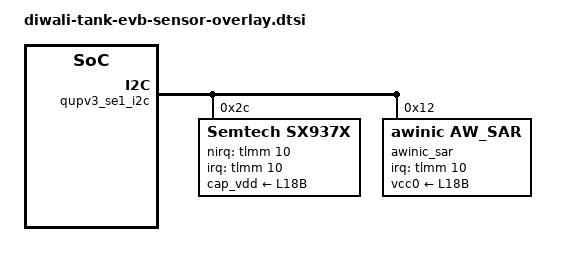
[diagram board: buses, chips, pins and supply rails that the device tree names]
/* Copyright (c) 2021, The Linux Foundation. All rights reserved.
 *
 * This program is free software; you can redistribute it and/or modify
 * it under the terms of the GNU General Public License version 2 and
 * only version 2 as published by the Free Software Foundation.
 *
 * This program is distributed in the hope that it will be useful,
 * but WITHOUT ANY WARRANTY; without even the implied warranty of
 * MERCHANTABILITY or FITNESS FOR A PARTICULAR PURPOSE.  See the
 * GNU General Public License for more details.
 */

&tlmm {
	sar_int_default: sar_int_default {
			mux {
				pins = "gpio10";
				function =  "gpio";
			};
			config {
				pins = "gpio10";
				num-grp-pins = <1>;
				drive-strength = <2>;
				bias-pull-up;
			};
	};

	sar_int_sleep: sar_int_sleep {
			mux {
				pins = "gpio10";
				function =  "gpio";
			};
			config {
				pins = "gpio10";
				num-grp-pins = <1>;
				drive-strength = <2>;
				bias-pull-up;
			};
	};

};

&qupv3_se1_i2c {
	status = "ok";
	sx937x@2c { /* SAR sensor */
		compatible = "Semtech,sx937x";
		reg = <0x2c>;
		Semtech,power-supply-type = <0>;
		cap_vdd-supply = <&L18B>;
		//cap_vdd-supply = <&pm_humu_l18>;
		pinctrl-names = "default","sleep";
		pinctrl-0 = <&sar_int_default>;
		pinctrl-1 = <&sar_int_sleep>;
		interrupt-parent = <&tlmm>;
		interrupts = <10 0x02>;
		interrupt-names = "capsense0_irq";
		Semtech,nirq-gpio= <&tlmm 10 0x02>;
		/*use PH4/5/6 as the reference sensor
		set it to 0xff if the ref-phases-x is not used*/
		Semtech,ref-phases-a = <4>;
		Semtech,ref-phases-b = <5>;
		Semtech,ref-phases-c = <6>;
		Semtech,button-flag = <0x07>;
		Semtech,reg-num = <57>;
		Semtech,reg-init = <
		        0x8024 0x00007F00
	                0x4004 0x00000070
	                0x4008 0x00000008
	                0x8020 0x00000032
	                0x8028 0x0000085E
	                0x8034 0x0000086E
	                0x8040 0x0000086E
	                0x804C 0x0000086E
	                0x8058 0x0000086E
	                0x8064 0x0000086E
	                0x8070 0x0000086E
	                0x807C 0x0000085E
	                0x8030 0x00924925
	                0x803C 0x0092C924
	                0x8048 0x00964924
	                0x8054 0x00924924
	                0x8060 0x00924924
	                0x806C 0x0092492C
	                0x8078 0x00924964
	                0x8084 0x00FFF9FF
	                0x8098 0x0000AA43
	                0x80B8 0x0000873C
	                0x80D8 0x00008383
	                0x80F8 0x00003232
	                0x8118 0x00002A2A
	                0x8138 0x00005A40
	                0x8158 0x00005A40
	                0x8178 0x00005A40
	                0x80A0 0x27270001
	                0x80C0 0x08080001
	                0x80E0 0x0C0C0001
	                0x8188 0x08000005
	                0x818C 0x00000006
	                0x8090 0x1A005000
	                0x80B0 0x1A005000
	                0x80D0 0x10005000
	                0x80F0 0x18005000
	                0x8110 0x18005000
	                0x8130 0x54AC5000
	                0x8150 0x54AC5000
	                0x8170 0x54AC5000
	                0x8088 0x00300000
	                0x80A8 0x00300000
	                0x80C8 0x00300000
	                0x80E8 0x00300000
	                0x8108 0x00300000
	                0x8128 0x00300000
	                0x8148 0x00300000
	                0x8168 0x00300000
	                0x808C 0x60200030
	                0x80AC 0x60200030
	                0x80CC 0x60200030
	                0x80EC 0x60200030
	                0x810C 0x60200030
	                0x812C 0x60200030
	                0x814C 0x60200030
	                0x816C 0x60200030
		>;
		status = "ok";
	};
	awinic_sar@12 {
		/* common node */
		compatible = "awinic,aw_sar";
		reg = < 0x12 >;
		aw_sar,regulator-power-supply = <1>;
		sar-num = < 0 >;
		interrupt-parent = < &tlmm >;
		interrupts = <10 0x02>;
		interrupt-names = "awinic_irq";
		irq-gpio = <&tlmm 10 0x02>;
		vcc0-supply = <&L18B>;
		channel_use_flag = <0x07>;
		aw_sar,use_plug_cail;
		aw_sar,update_fw;
		/* private node belongs to aw963xx */
		start-mode = < 1 >; // 0: start in rom  1: start in ram
		irq-mux = < 2 >; // set csx as irq pin. config this field when connect to aw96308/aw96310
		monitor_esd_flag = < 1 >; // enable esd recover timer
		status = "okay";
	};
};
